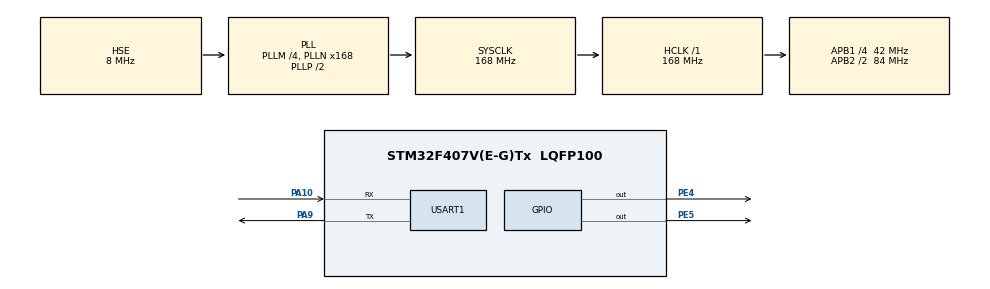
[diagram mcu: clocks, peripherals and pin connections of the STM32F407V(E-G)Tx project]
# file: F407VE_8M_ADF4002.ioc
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Mcu.Family=STM32F4
Mcu.Name=STM32F407V(E-G)Tx
Mcu.Package=LQFP100
NVIC.PriorityGroup=NVIC_PRIORITYGROUP_4
NVIC.USART1_IRQn=true\:0\:0\:false\:false\:true\:true\:true
PA10.GPIO_PuPd=GPIO_PULLUP
PA10.Mode=Asynchronous
PA10.Signal=USART1_RX
PA13.Mode=Serial_Wire
PA13.Signal=SYS_JTMS-SWDIO
PA14.Mode=Serial_Wire
PA14.Signal=SYS_JTCK-SWCLK
PA9.GPIO_PuPd=GPIO_PULLUP
PA9.Mode=Asynchronous
PA9.Signal=USART1_TX
PC14-OSC32_IN.Mode=LSE-External-Oscillator
PC14-OSC32_IN.Signal=RCC_OSC32_IN
PC15-OSC32_OUT.Mode=LSE-External-Oscillator
PC15-OSC32_OUT.Signal=RCC_OSC32_OUT
PE4.GPIO_ModeDefaultOutputPP=GPIO_MODE_OUTPUT_PP
PE4.GPIO_PuPd=GPIO_PULLUP
PE4.GPIO_Speed=GPIO_SPEED_FREQ_VERY_HIGH
PE4.PinState=GPIO_PIN_SET
PE4.Signal=GPIO_Output
PE5.GPIO_ModeDefaultOutputPP=GPIO_MODE_OUTPUT_PP
PE5.GPIO_PuPd=GPIO_PULLUP
PE5.GPIO_Speed=GPIO_SPEED_FREQ_VERY_HIGH
PE5.PinState=GPIO_PIN_SET
PE5.Signal=GPIO_Output
PH0-OSC_IN.Mode=HSE-External-Oscillator
PH0-OSC_IN.Signal=RCC_OSC_IN
PH1-OSC_OUT.Mode=HSE-External-Oscillator
PH1-OSC_OUT.Signal=RCC_OSC_OUT
ProjectManager.HeapSize=0x200
ProjectManager.StackSize=0x400
ProjectManager.TargetToolchain=MDK-ARM V5.32
RCC.48MHZClocksFreq_Value=84000000
RCC.AHBFreq_Value=168000000
RCC.APB1CLKDivider=RCC_HCLK_DIV4
RCC.APB1Freq_Value=42000000
RCC.APB1TimFreq_Value=84000000
RCC.APB2CLKDivider=RCC_HCLK_DIV2
RCC.APB2Freq_Value=84000000
RCC.APB2TimFreq_Value=168000000
RCC.CortexFreq_Value=168000000
RCC.HCLKFreq_Value=168000000
RCC.HSE_VALUE=8000000
RCC.HSI_VALUE=16000000
RCC.PLLM=4
RCC.PLLN=168
RCC.PLLSourceVirtual=RCC_PLLSOURCE_HSE
RCC.SYSCLKFreq_VALUE=168000000
RCC.SYSCLKSource=RCC_SYSCLKSOURCE_PLLCLK
RCC.VCOOutputFreq_Value=336000000
USART1.VirtualMode=VM_ASYNC
board=custom

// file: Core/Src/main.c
/* USER CODE BEGIN Header */
/**
  ******************************************************************************
  * @file           : main.c
  * @brief          : Main program body
  ******************************************************************************
  * @attention
  *
  * <h2><center>&copy; Copyright (c) 2021 STMicroelectronics.
  * All rights reserved.</center></h2>
  *
  * This software component is licensed by ST under BSD 3-Clause license,
  * the "License"; You may not use this file except in compliance with the
  * License. You may obtain a copy of the License at:
  *                        opensource.org/licenses/BSD-3-Clause
  *
  ******************************************************************************
  */
/* USER CODE END Header */
#include "main.h"
#include "usart.h"
#include "gpio.h"

/* USER CODE BEGIN Includes */
#include "ADF4002/adf4002.h"
/* USER CODE END Includes */

/* USER CODE BEGIN PV */
MyUARTHandle uart1;
uint8_t uartBuf1[100];
/* USER CODE END PV */

void SystemClock_Config(void);

int main(void)
{
  /* USER CODE BEGIN 1 */
  uint8_t str[50];
  uint32_t val;
  /* USER CODE END 1 */

  /* MCU Configuration--------------------------------------------------------*/

  /* Reset of all peripherals, Initializes the Flash interface and the Systick. */
  HAL_Init();

  /* Configure the system clock */
  SystemClock_Config();

  /* Initialize all configured peripherals */
  MX_GPIO_Init();
  MX_USART1_UART_Init();
  /* USER CODE BEGIN 2 */
  Delay_Init(168);
  MyUART_Init(&uart1, USART1, uartBuf1, 100);
  // printf("Test\r\n");
  ADF4002_Init();

  /* USER CODE END 2 */

  /* Infinite loop */
  while (1)
  {

    /* USER CODE BEGIN 3 */
    Delay_ms(20); // NECESSARY
    if(MyUART_ReadUntilWithZero(&uart1, str, '\n'))
    {
      if(str[0] == 'r')
      {
        val = myatoi_hex(str);
        printf("Write to Register: 0x%x\n", val);
        ADF4002_Write(0, val);
      }
      else
      {
        val = myatoi(str);
        val = Test(val);
        if(val == 0)
          printf("ok\n");
        else if(val == 1)
          printf("par\n");
        else
          printf("err\n");
      }
    }
  }
  /* USER CODE END 3 */
}

void SystemClock_Config(void)
{
  RCC_OscInitTypeDef RCC_OscInitStruct = {0};
  RCC_ClkInitTypeDef RCC_ClkInitStruct = {0};

  /** Configure the main internal regulator output voltage
  */
  __HAL_RCC_PWR_CLK_ENABLE();
  __HAL_PWR_VOLTAGESCALING_CONFIG(PWR_REGULATOR_VOLTAGE_SCALE1);
  /** Initializes the RCC Oscillators according to the specified parameters
  * in the RCC_OscInitTypeDef structure.
  */
  RCC_OscInitStruct.OscillatorType = RCC_OSCILLATORTYPE_HSE;
  RCC_OscInitStruct.HSEState = RCC_HSE_ON;
  RCC_OscInitStruct.PLL.PLLState = RCC_PLL_ON;
  RCC_OscInitStruct.PLL.PLLSource = RCC_PLLSOURCE_HSE;
  RCC_OscInitStruct.PLL.PLLM = 4;
  RCC_OscInitStruct.PLL.PLLN = 168;
  RCC_OscInitStruct.PLL.PLLP = RCC_PLLP_DIV2;
  RCC_OscInitStruct.PLL.PLLQ = 4;
  if (HAL_RCC_OscConfig(&RCC_OscInitStruct) != HAL_OK)
  {
    Error_Handler();
  }
  /** Initializes the CPU, AHB and APB buses clocks
  */
  RCC_ClkInitStruct.ClockType = RCC_CLOCKTYPE_HCLK|RCC_CLOCKTYPE_SYSCLK
                              |RCC_CLOCKTYPE_PCLK1|RCC_CLOCKTYPE_PCLK2;
  RCC_ClkInitStruct.SYSCLKSource = RCC_SYSCLKSOURCE_PLLCLK;
  RCC_ClkInitStruct.AHBCLKDivider = RCC_SYSCLK_DIV1;
  RCC_ClkInitStruct.APB1CLKDivider = RCC_HCLK_DIV4;
  RCC_ClkInitStruct.APB2CLKDivider = RCC_HCLK_DIV2;

  if (HAL_RCC_ClockConfig(&RCC_ClkInitStruct, FLASH_LATENCY_5) != HAL_OK)
  {
    Error_Handler();
  }
}

void Error_Handler(void)
{
  __disable_irq();
  while (1)
  {
  }
}

/************************ (C) COPYRIGHT STMicroelectronics *****END OF FILE****/
